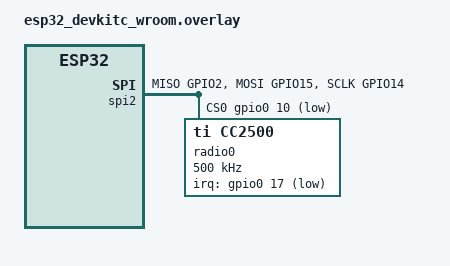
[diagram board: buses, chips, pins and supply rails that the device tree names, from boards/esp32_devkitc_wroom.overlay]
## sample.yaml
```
# This file is provided so that the application can be compiled using Twister,
# the Zephyr testing tool. In this file, multiple combinations can be specified,
# so that you can easily test all of them locally or in CI.
sample:
  description: Example application
  name: example-application
common:
  build_only: true
  integration_platforms:
    - nucleo_f756zg
tests:
  app.default: {}
  app.debug:
    extra_overlay_confs:
      - debug.conf
```

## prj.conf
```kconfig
# Copyright (c) 2021 Nordic Semiconductor ASA
# SPDX-License-Identifier: Apache-2.0
#
# This file contains selected Kconfig options for the application.

CONFIG_SPI=y
CONFIG_CC2500=y
CONFIG_CC2500_TRIGGER=n

# logging
CONFIG_LOG=y
CONFIG_APP_LOG_LEVEL_DBG=y
CONFIG_CC2500_LOG_LEVEL_WRN=y
#CONFIG_CC2500_LOG_LEVEL_DBG=y
CONFIG_LOG_MODE_IMMEDIATE=y
```

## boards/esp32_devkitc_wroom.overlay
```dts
/*
 * Copyright (c) 2024 Eve Redero
 * SPDX-License-Identifier: Apache-2.0
 */

&pinctrl {
spim2_default: spim2_default {
		group1 {
			pinmux = <SPIM2_MISO_GPIO2>,
				 <SPIM2_MOSI_GPIO15>,
				 <SPIM2_SCLK_GPIO14>;
		};
	};
};

&spi2 {
	#address-cells = <1>;
	#size-cells = <0>;
	status = "okay";
	pinctrl-0 = <&spim2_default>;
	pinctrl-names = "default";
	cs-gpios = <&gpio0 10 GPIO_ACTIVE_LOW>;

	radio0: propy_radio@0 {
		reg = <0>;
		compatible = "ti,cc2500";
		status = "okay";
		spi-max-frequency = <500000>; // Max 10 MHz for cc2500, min 420k for driver
		channel-frequency = <3>;
		start-frequency = <2412>;
		irq-gpios = <&gpio0 17 GPIO_ACTIVE_LOW>;
		payload-crc;
		/* From 0x07 to 0x2E */
		conf-array =         [0A 04 01 00 0A 00 5D 13 B1
		2D 3B 73 22 F8 00 07 30 18 1D 1C C7 00 B0 87 6B
		F8 B6 10 EA 0A 00 11 41 00 59 7F 3F 88 31 0B];
	};
};
```

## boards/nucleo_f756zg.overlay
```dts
/*
 * Copyright (c) 2024 Eve Redero
 * SPDX-License-Identifier: Apache-2.0
 */

&spi1 {
	pinctrl-0 = <&spi1_sck_pb3 &spi1_miso_pb4 &spi1_mosi_pb5>;
	pinctrl-names = "default";
	cs-gpios = <&gpioa 4 GPIO_ACTIVE_LOW>;
	clock-frequency = <8000000>; // Max 8 Mbps for SPI
	status = "okay";

	radio0: propy_radio@0 {
		reg = <0>;
		compatible = "ti,cc2500";
		status = "okay";
		spi-max-frequency = <500000>; // This really sets frequency
		/* From 0x07 to 0x2E */
		conf-array =         [0A 04 01 00 0A 00 5D 13 B1
		2D 3B 73 22 F8 00 07 30 18 1D 1C C7 00 B0 87 6B
		F8 B6 10 EA 0A 00 11 41 00 59 7F 3F 88 31 0B];
	};
};
```

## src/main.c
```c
/*
 * Copyright (C) 2024 Eve Redero
 * SPDX-License-Identifier: Apache-2.0
 */

#include <zephyr/kernel.h>
#include <zephyr/devicetree.h>

#include <app/drivers/propy_radio.h>
#include <zephyr/logging/log.h>
LOG_MODULE_REGISTER(main, CONFIG_APP_LOG_LEVEL);
#if !DT_NODE_EXISTS(DT_NODELABEL(radio0))
#error "whoops, node label radio0 not found"
#endif

int select_mode(const struct device *cc2500, uint8_t mode, uint8_t volume)
{
	uint8_t data_len = 9;
	uint8_t buffer[] = {0x01, 0x00, 0xa5, 0x28, 0x28, 0x00, 0x00, mode, volume};
	int i = 0;
	static uint8_t accel = 0x00;
	buffer[4] = accel;
	buffer[3] = accel;
	accel++;

	for (i=0; i<20; i++) {
		propy_radio_write(cc2500, buffer, data_len-2);
		k_sleep(K_MSEC(50));
		propy_radio_write(cc2500, buffer, data_len);
		k_sleep(K_MSEC(50));
	}
	return(0);
}

int read_stuff(const struct device *cc2500)
{
	uint8_t data_len = 9;
	uint8_t buffer[] = {0x00, 0x00, 0x00, 0x00, 0x00, 0x00, 0x00, 0x00, 0x00};
	int i = 0;
	for (i=0; i<100; i++) {
		propy_radio_read(cc2500, buffer, data_len);
		LOG_HEXDUMP_INF(buffer, data_len, "read: ");
		k_msleep(500);
	}
	return(0);
}

int main(void)
{
	static const struct device *cc2500 = DEVICE_DT_GET(DT_NODELABEL(radio0));
	int i;

	if (!device_is_ready(cc2500)) {
		LOG_ERR("Sensor not ready");
		return 0;
	}
	LOG_INF("Device ready");


	for (i=0; i<20; i++) {
		LOG_INF("Mode 1, 1");
		select_mode(cc2500, 1, 1);
		LOG_INF("Mode 1, 5");
		select_mode(cc2500, 1, 5);
	}
	for (i=0; i<20; i++) {
		LOG_INF("Mode 3 level 6");
		select_mode(cc2500, 3, 6);
		LOG_INF("Mode 3 level 10");
		select_mode(cc2500, 3, 10);
	}
	for (i=0; i<20; i++) {
		LOG_INF("Mode 5");
		select_mode(cc2500, 5, 6);
	}
	LOG_INF("Vol 0");
	select_mode(cc2500, 0, 0);

	return 0;
}
```
